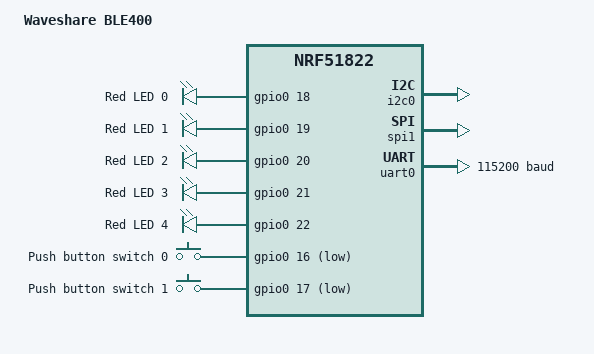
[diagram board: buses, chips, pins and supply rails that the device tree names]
/*
 * Copyright (c) 2018 Roman Tataurov <diytronic@yandex.ru>
 *
 * SPDX-License-Identifier: Apache-2.0
 */

/dts-v1/;
#include <nordic/nrf51822_qfac.dtsi>
#include "nrf51_ble400-pinctrl.dtsi"
#include <zephyr/dt-bindings/input/input-event-codes.h>

/ {
	model = "Waveshare BLE400";
	compatible = "waveshare,BLE400";

	chosen {
		zephyr,console = &uart0;
		zephyr,shell-uart = &uart0;
		zephyr,bt-mon-uart = &uart0;
		zephyr,bt-c2h-uart = &uart0;
		zephyr,sram = &sram0;
		zephyr,flash = &flash0;
	};

	/* These aliases are provided for compatibility with samples */
	aliases {
		led0 = &led0;
		led1 = &led1;
		led2 = &led2;
		led3 = &led3;
		led4 = &led4;
		sw0 = &button0;
		sw1 = &button1;
		watchdog0 = &wdt0;
	};

	leds {
		compatible = "gpio-leds";

		led0: led_0 {
			gpios = <&gpio0 18 0>;
			label = "Red LED 0";
		};

		led1: led_1 {
			gpios = <&gpio0 19 0>;
			label = "Red LED 1";
		};

		led2: led_2 {
			gpios = <&gpio0 20 0>;
			label = "Red LED 2";
		};

		led3: led_3 {
			gpios = <&gpio0 21 0>;
			label = "Red LED 3";
		};

		led4: led_4 {
			gpios = <&gpio0 22 0>;
			label = "Red LED 4";
		};
	};

	buttons {
		/* Push button switch 0 KEY1 */
		compatible = "gpio-keys";

		button0: button_0 {
			gpios = <&gpio0 16 (GPIO_PULL_UP | GPIO_ACTIVE_LOW)>;
			label = "Push button switch 0";
			zephyr,code = <INPUT_KEY_0>;
		};

		/* Push button switch 1 KEY2 */
		button1: button_1 {
			gpios = <&gpio0 17 (GPIO_PULL_UP | GPIO_ACTIVE_LOW)>;
			label = "Push button switch 1";
			zephyr,code = <INPUT_KEY_1>;
		};
	};
};

&gpiote {
	status = "okay";
};

&gpio0 {
	status = "okay";
};

&i2c0 {
	status = "okay";
	/* smba-pin = <2>; */
	pinctrl-0 = <&i2c0_default>;
	pinctrl-1 = <&i2c0_sleep>;
	pinctrl-names = "default", "sleep";
};

&spi1 {
	compatible = "nordic,nrf-spi";
	status = "okay";
	cs-gpios = <&gpio0 30 GPIO_ACTIVE_LOW>;
	pinctrl-0 = <&spi1_default>;
	pinctrl-1 = <&spi1_sleep>;
	pinctrl-names = "default", "sleep";
};

&uart0 {
	current-speed = <115200>;
	status = "okay";
	pinctrl-0 = <&uart0_default>;
	pinctrl-1 = <&uart0_sleep>;
	pinctrl-names = "default", "sleep";
};
